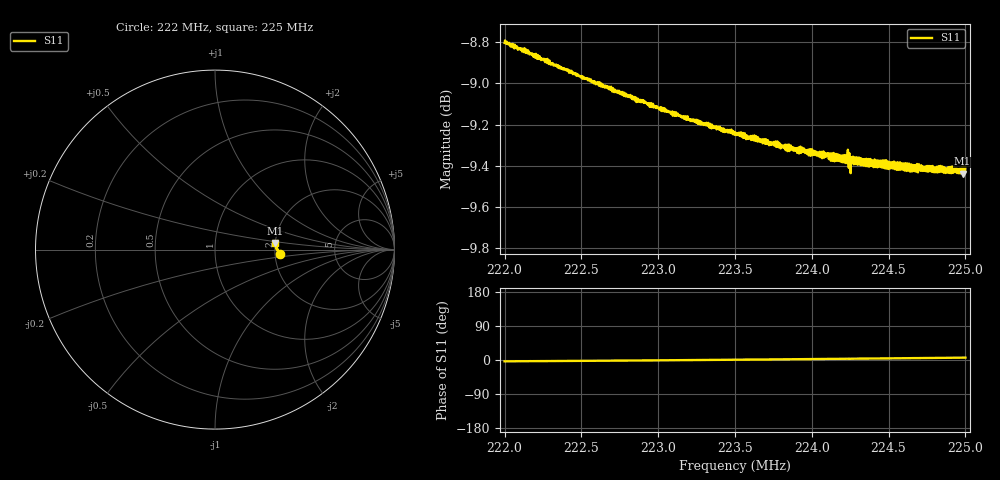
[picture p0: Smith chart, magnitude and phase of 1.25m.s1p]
! Calibrated averaged scanner-service zoom
# Hz S RI R 50
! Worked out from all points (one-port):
!   1001 points, 222 MHz to 225 MHz, reference 50 ohm
!   lowest |S11| = -9.4 dB at 224.98 MHz (marker M1), VSWR 2.02, Z = 100 + j8.21 ohm
!   |S11| at or under -10 dB: nowhere
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2.22e8  0.3623 -0.0221
2.22375e8  0.3575 -0.0161
2.2275e8  0.3527 -0.00979
2.23125e8  0.3486 -0.00305
2.235e8  0.3453 0.00442
2.23875e8  0.3422 0.012
2.24124e8  0.3393 0.0174
2.24154e8  0.3404 0.0182
2.24187e8  0.3391 0.0186
2.24214e8  0.3396 0.0191
2.2422e8  0.3401 0.0197
2.24226e8  0.3393 0.0194
2.24229e8  0.3399 0.0197
2.24238e8  0.3391 0.0196
2.2425e8  0.3389 0.02
2.24262e8  0.3387 0.0203
2.24271e8  0.3392 0.0206
2.24292e8  0.3398 0.021
2.24337e8  0.3382 0.022
2.24367e8  0.3393 0.0227
2.24388e8  0.3382 0.0228
2.24472e8  0.339 0.0248
2.24517e8  0.3374 0.0258
2.24625e8  0.3376 0.0284
2.24667e8  0.3366 0.0292
2.24685e8  0.3379 0.0293
2.24982e8  0.3354 0.0364
2.25e8  0.3366 0.0363
